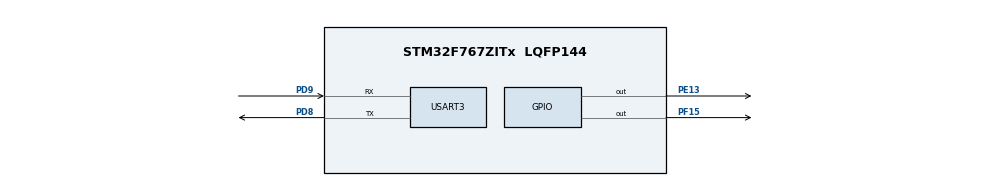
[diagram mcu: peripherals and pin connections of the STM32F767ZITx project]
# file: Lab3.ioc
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CORTEX_M7.default_mode_Activation=1
Mcu.Family=STM32F7
Mcu.Name=STM32F767ZITx
Mcu.Package=LQFP144
NVIC.PriorityGroup=NVIC_PRIORITYGROUP_4
PD8.Mode=Asynchronous
PD8.Signal=USART3_TX
PD9.Mode=Asynchronous
PD9.Signal=USART3_RX
PE13.Signal=GPIO_Output
PF15.Signal=GPIO_Output
ProjectManager.HeapSize=0x200
ProjectManager.StackSize=0x400
ProjectManager.TargetToolchain=STM32CubeIDE
RCC.HSE_VALUE=25000000
RCC.HSI_VALUE=16000000
RCC.LSE_VALUE=32768
RCC.USBFreq_Value=96000000
RCC.VCOOutputFreq_Value=192000000
USART3.VirtualMode-Asynchronous=VM_ASYNC
board=custom

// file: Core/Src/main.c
/* USER CODE BEGIN Header */
/**
  ******************************************************************************
  * @file           : main.c
  * @brief          : Main program body
  ******************************************************************************
  * @attention
  *
  * Copyright (c) 2026 STMicroelectronics.
  * All rights reserved.
  *
  * This software is licensed under terms that can be found in the LICENSE file
  * in the root directory of this software component.
  * If no LICENSE file comes with this software, it is provided AS-IS.
  *
  ******************************************************************************
  */
/* USER CODE END Header */
#include "main.h"
#include "usart.h"
#include "gpio.h"

/* USER CODE BEGIN Includes */
#include "string.h"
#include "stdio.h"
/* USER CODE END Includes */

void SystemClock_Config(void);
static void MPU_Config(void);

int main(void)
{

  /* MPU Configuration--------------------------------------------------------*/
  MPU_Config();

  /* MCU Configuration--------------------------------------------------------*/

  /* Reset of all peripherals, Initializes the Flash interface and the Systick. */
  HAL_Init();

  /* Configure the system clock */
  SystemClock_Config();

  /* Initialize all configured peripherals */
  MX_GPIO_Init();
  MX_USART3_UART_Init();
  /* USER CODE BEGIN 2 */
  	  	char initText[] = "Display Blinking LED PRESS (1,2)\r\nDisplay Group Members PRESS m\r\Quit PRESS q\r\n";
        while (__HAL_UART_GET_FLAG(&huart3, UART_FLAG_TC) == RESET) {}
        HAL_UART_Transmit(&huart3, (uint8_t*)initText, strlen(initText), 1000);
        int initflag = 1;
  /* USER CODE END 2 */

  /* Infinite loop */
  while (1)
  {

    /* USER CODE BEGIN 3 */
    char ch1;

    // clear error flags
    __HAL_UART_CLEAR_FLAG(&huart3, UART_CLEAR_OREF);
    __HAL_UART_CLEAR_FLAG(&huart3, UART_CLEAR_NEF);
    __HAL_UART_CLEAR_FLAG(&huart3, UART_CLEAR_FEF);

    // echo input
     char str[100];
     int len = snprintf(str, sizeof(str), "\tInput => ");
     while (__HAL_UART_GET_FLAG(&huart3, UART_FLAG_TC) == RESET) {}
     HAL_UART_Transmit(&huart3, (uint8_t*)str, len, 1000);

    // wait for input
    while (__HAL_UART_GET_FLAG(&huart3, UART_FLAG_RXNE) == RESET) {}
    HAL_UART_Receive(&huart3, (uint8_t*)&ch1, 1, 1000);
//    if(initflag){
//    	while (__HAL_UART_GET_FLAG(&huart3, UART_FLAG_TC) == RESET) {}
//    	        HAL_UART_Transmit(&huart3, (uint8_t*)"\r\n", 2, 1000);
//    }

    // q = quit
    if (ch1 == 'q') {
      while (__HAL_UART_GET_FLAG(&huart3, UART_FLAG_TC) == RESET) {}
      HAL_UART_Transmit(&huart3, (uint8_t*)"q\r\n\tQUIT", 10, 1000);
      break;
    }
    // 1 = blink LED1
    else if (ch1 == '1') {
    	while (__HAL_UART_GET_FLAG(&huart3, UART_FLAG_TC) == RESET) {}
    	      HAL_UART_Transmit(&huart3, (uint8_t*)"1\n\r", 3, 1000);
      for (int i = 0; i < 3; i++) {
        HAL_GPIO_WritePin(GPIOE, GPIO_PIN_13, GPIO_PIN_SET);
        HAL_Delay(300);
        HAL_GPIO_WritePin(GPIOE, GPIO_PIN_13, GPIO_PIN_RESET);
        HAL_Delay(300);

      }

    }
    // 2 = blink LED2
    else if (ch1 == '2') {
    	while (__HAL_UART_GET_FLAG(&huart3, UART_FLAG_TC) == RESET) {}
    	    	      HAL_UART_Transmit(&huart3, (uint8_t*)"2\n\r", 3, 1000);
      for (int i = 0; i < 3; i++) {
        HAL_GPIO_WritePin(GPIOF, GPIO_PIN_15, GPIO_PIN_SET);
        HAL_Delay(300);
        HAL_GPIO_WritePin(GPIOF, GPIO_PIN_15, GPIO_PIN_RESET);
        HAL_Delay(300);
      }
    }
    // m = show members
    else if (ch1 == 'm') {
      char name[] = "m\n\r\t\t67010126\r\n\t\tJittipon Songtrai\r\n\t\t67010338\r\n\t\tTawan Khunta\r\n";
      while (__HAL_UART_GET_FLAG(&huart3, UART_FLAG_TC) == RESET) {}
      HAL_UART_Transmit(&huart3, (uint8_t*)name, strlen(name), 1000);
    }
    // unknown
    else {
      char unk[] = "\r\n\tUnknown Command\r\n";
      while (__HAL_UART_GET_FLAG(&huart3, UART_FLAG_TC) == RESET) {}
          	      HAL_UART_Transmit(&huart3, (uint8_t*)&ch1, 1, 1000);
      while (__HAL_UART_GET_FLAG(&huart3, UART_FLAG_TC) == RESET) {}
      HAL_UART_Transmit(&huart3, (uint8_t*)unk, strlen(unk), 1000);
    }
  }
  /* USER CODE END 3 */
}

void SystemClock_Config(void)
{
  RCC_OscInitTypeDef RCC_OscInitStruct = {0};
  RCC_ClkInitTypeDef RCC_ClkInitStruct = {0};

  /** Configure the main internal regulator output voltage
  */
  __HAL_RCC_PWR_CLK_ENABLE();
  __HAL_PWR_VOLTAGESCALING_CONFIG(PWR_REGULATOR_VOLTAGE_SCALE3);

  /** Initializes the RCC Oscillators according to the specified parameters
  * in the RCC_OscInitTypeDef structure.
  */
  RCC_OscInitStruct.OscillatorType = RCC_OSCILLATORTYPE_HSI;
  RCC_OscInitStruct.HSIState = RCC_HSI_ON;
  RCC_OscInitStruct.HSICalibrationValue = RCC_HSICALIBRATION_DEFAULT;
  RCC_OscInitStruct.PLL.PLLState = RCC_PLL_NONE;
  if (HAL_RCC_OscConfig(&RCC_OscInitStruct) != HAL_OK)
  {
    Error_Handler();
  }

  /** Initializes the CPU, AHB and APB buses clocks
  */
  RCC_ClkInitStruct.ClockType = RCC_CLOCKTYPE_HCLK|RCC_CLOCKTYPE_SYSCLK
                              |RCC_CLOCKTYPE_PCLK1|RCC_CLOCKTYPE_PCLK2;
  RCC_ClkInitStruct.SYSCLKSource = RCC_SYSCLKSOURCE_HSI;
  RCC_ClkInitStruct.AHBCLKDivider = RCC_SYSCLK_DIV1;
  RCC_ClkInitStruct.APB1CLKDivider = RCC_HCLK_DIV1;
  RCC_ClkInitStruct.APB2CLKDivider = RCC_HCLK_DIV1;

  if (HAL_RCC_ClockConfig(&RCC_ClkInitStruct, FLASH_LATENCY_0) != HAL_OK)
  {
    Error_Handler();
  }
}

 /* MPU Configuration */

void MPU_Config(void)
{
  MPU_Region_InitTypeDef MPU_InitStruct = {0};

  /* Disables the MPU */
  HAL_MPU_Disable();

  /** Initializes and configures the Region and the memory to be protected
  */
  MPU_InitStruct.Enable = MPU_REGION_ENABLE;
  MPU_InitStruct.Number = MPU_REGION_NUMBER0;
  MPU_InitStruct.BaseAddress = 0x0;
  MPU_InitStruct.Size = MPU_REGION_SIZE_4GB;
  MPU_InitStruct.SubRegionDisable = 0x87;
  MPU_InitStruct.TypeExtField = MPU_TEX_LEVEL0;
  MPU_InitStruct.AccessPermission = MPU_REGION_NO_ACCESS;
  MPU_InitStruct.DisableExec = MPU_INSTRUCTION_ACCESS_DISABLE;
  MPU_InitStruct.IsShareable = MPU_ACCESS_SHAREABLE;
  MPU_InitStruct.IsCacheable = MPU_ACCESS_NOT_CACHEABLE;
  MPU_InitStruct.IsBufferable = MPU_ACCESS_NOT_BUFFERABLE;

  HAL_MPU_ConfigRegion(&MPU_InitStruct);
  /* Enables the MPU */
  HAL_MPU_Enable(MPU_PRIVILEGED_DEFAULT);

}

void Error_Handler(void)
{
  __disable_irq();
  while (1)
  {
  }
}
